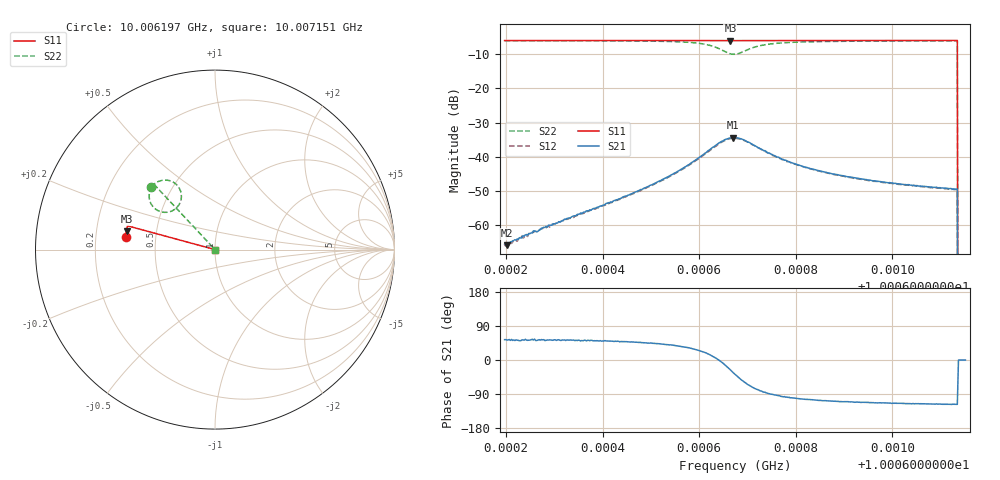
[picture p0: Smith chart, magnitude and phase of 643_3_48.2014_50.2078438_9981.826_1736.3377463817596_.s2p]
#  HZ  S  RI  R  50.00
! Rohde & Schwarz Vector Network Analyzer
! Rohde-Schwarz,ZNB20-2Port,1311601062101988,3.16
! Created: UTC 3/20/2024, 12:04:55 PM
! freq[Hz]  re:S11  im:S11  re:S21  im:S21  re:S12  im:S12  re:S22  im:S22
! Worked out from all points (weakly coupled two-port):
!   401 points, 10.006197 GHz to 10.007151 GHz, reference 50 ohm
!   highest |S21| = -34.43 dB at 10.006669 GHz (marker M1); lowest = -66.0 dB at 10.006202 GHz (marker M2)
!   lowest |S11| = -6.0 dB at 10.006665 GHz (marker M3), VSWR 3.02, Z = 16.7 + j4.59 ohm
!   |S11| at or under -10 dB: 10.007135 GHz to end of sweep
!   |S22| runs from - to -6.0 dB; largest |S21 - S12| = 0.0014
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1.00061969e10  -0.4984 0.0729  0.000307 0.000417  0.000263 0.000434  -0.3571 0.349
1.00062017e10  -0.4981 0.0733  0.000302 0.000398  0.000273 0.000433  -0.3566 0.3494
1.00062398e10  -0.4979 0.0758  0.000411 0.00058  0.000386 0.000574  -0.3537 0.3524
1.00062518e10  -0.4979 0.0766  0.00045 0.000613  0.000404 0.000666  -0.3528 0.3533
1.00063567e10  -0.4968 0.0835  0.000906 0.00113  0.000856 0.00121  -0.3427 0.3625
1.00064546e10  -0.4959 0.0898  0.00184 0.00203  0.00172 0.00207  -0.3277 0.3733
1.00065166e10  -0.495 0.094  0.00319 0.00296  0.00297 0.00302  -0.31 0.3818
1.00065667e10  -0.4944 0.0974  0.00558 0.00385  0.00521 0.00403  -0.2834 0.3874
1.00066144e10  -0.4934 0.1005  0.0109 0.00368  0.0105 0.00405  -0.2317 0.375
1.0006643e10  -0.4923 0.1021  0.0161 -0.000705  0.0157 0.000196  -0.1914 0.3251
1.00066645e10  -0.4917 0.1027  0.0169 -0.00825  0.0169 -0.00702  -0.1983 0.2537
1.00066693e10  -0.4919 0.1028  0.0161 -0.01  0.0163 -0.00874  -0.2088 0.2387
1.00066741e10  -0.4918 0.103  0.015 -0.0116  0.0155 -0.0103  -0.2218 0.2264
1.00066955e10  -0.4922 0.1038  0.00854 -0.0149  0.00931 -0.0142  -0.2907 0.2086
1.00067289e10  -0.4925 0.1058  0.00179 -0.0127  0.0023 -0.0124  -0.3503 0.2457
1.00067766e10  -0.4924 0.1093  -0.00101 -0.00878  -0.000598 -0.00876  -0.3666 0.2913
1.00068339e10  -0.4918 0.113  -0.00167 -0.00635  -0.00139 -0.00634  -0.3642 0.3189
1.00069126e10  -0.4908 0.1183  -0.00176 -0.00469  -0.00153 -0.0047  -0.357 0.3388
1.00069937e10  -0.4896 0.1235  -0.00169 -0.0038  -0.00144 -0.00379  -0.3504 0.3507
1.00071297e10  -0.4877 0.132  -0.0015 -0.00297  -0.00135 -0.00299  -0.3408 0.364
1.00071417e10  0 0  0 0  0 0  0 0
1.00071512e10  0 0  0 0  0 0  0 0
